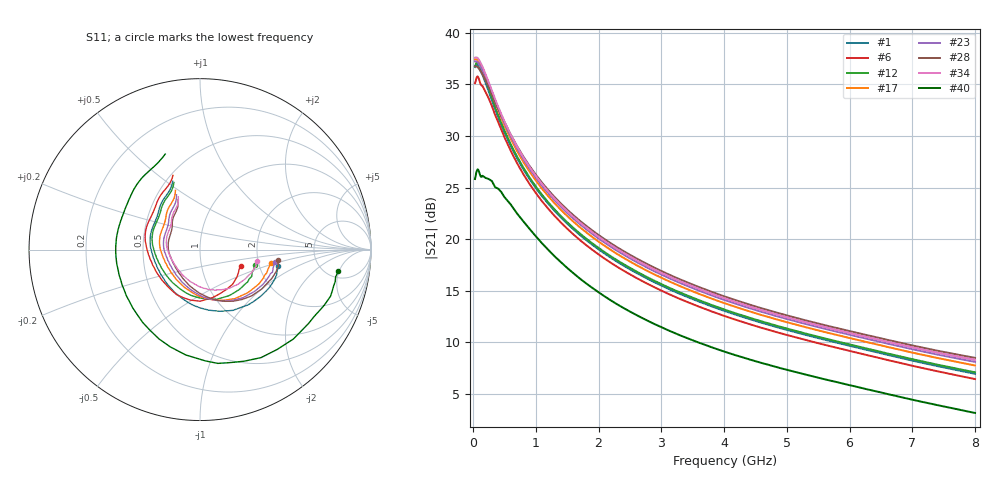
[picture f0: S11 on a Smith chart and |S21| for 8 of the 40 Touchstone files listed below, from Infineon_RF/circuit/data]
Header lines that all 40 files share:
! Infineon Technologies  Discrete & RF Semiconductors
! BFP620F
! Common Emitter S-Parameters:  Dec 2014
# GHz  S  MA  R  50
!  f  S11  S21  S12  S22
! GHz  MAG  ANG  MAG  ANG  MAG  ANG  MAG  ANG
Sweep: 30 MHz to 8 GHz
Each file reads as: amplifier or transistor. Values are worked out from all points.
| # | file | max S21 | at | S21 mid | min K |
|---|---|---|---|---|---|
| 1 | BFP620F_VCE_1.3V_IC_55mA.s2p | 36.9 dB | 60 MHz | 14.7 dB at 3.3 GHz | 0.08 |
| 2 | BFP620F_VCE_1.3V_IC_60mA.s2p | 36.9 dB | 70 MHz | 14.6 dB at 3.3 GHz | 0.16 |
| 3 | BFP620F_VCE_1.3V_IC_65mA.s2p | 36.9 dB | 70 MHz | 14.6 dB at 3.3 GHz | 0.18 |
| 4 | BFP620F_VCE_1.3V_IC_70mA.s2p | 36.6 dB | 70 MHz | 14.5 dB at 3.3 GHz | 0.21 |
| 5 | BFP620F_VCE_1.3V_IC_75mA.s2p | 36.3 dB | 70 MHz | 14.4 dB at 3.3 GHz | 0.18 |
| 6 | BFP620F_VCE_1.3V_IC_80mA.s2p | 35.8 dB | 70 MHz | 14.2 dB at 3.3 GHz | 0.25 |
| 7 | BFP620F_VCE_1.5V_IC_53mA.s2p | 37.0 dB | 40 MHz | 15.1 dB at 3.3 GHz | 0.07 |
| 8 | BFP620F_VCE_1.5V_IC_55mA.s2p | 37.1 dB | 40 MHz | 15.1 dB at 3.3 GHz | 0.11 |
| 9 | BFP620F_VCE_1.5V_IC_60mA.s2p | 37.2 dB | 50 MHz | 15.0 dB at 3.3 GHz | 0.17 |
| 10 | BFP620F_VCE_1.5V_IC_65mA.s2p | 37.3 dB | 60 MHz | 15.0 dB at 3.3 GHz | 0.11 |
| 11 | BFP620F_VCE_1.5V_IC_70mA.s2p | 37.3 dB | 60 MHz | 14.9 dB at 3.3 GHz | 0.15 |
| 12 | BFP620F_VCE_1.5V_IC_75mA.s2p | 37.1 dB | 70 MHz | 14.8 dB at 3.3 GHz | 0.20 |
| 13 | BFP620F_VCE_1.5V_IC_80mA.s2p | 36.9 dB | 70 MHz | 14.7 dB at 3.3 GHz | 0.19 |
| 14 | BFP620F_VCE_1.8V_IC_53mA.s2p | 37.0 dB | 30 MHz | 15.5 dB at 3.3 GHz | 0.15 |
| 15 | BFP620F_VCE_1.8V_IC_55mA.s2p | 37.1 dB | 40 MHz | 15.5 dB at 3.3 GHz | 0.08 |
| 16 | BFP620F_VCE_1.8V_IC_60mA.s2p | 37.3 dB | 40 MHz | 15.5 dB at 3.3 GHz | 0.09 |
| 17 | BFP620F_VCE_1.8V_IC_65mA.s2p | 37.4 dB | 40 MHz | 15.5 dB at 3.3 GHz | 0.13 |
| 18 | BFP620F_VCE_1.8V_IC_70mA.s2p | 37.5 dB | 50 MHz | 15.4 dB at 3.3 GHz | 0.14 |
| 19 | BFP620F_VCE_1.8V_IC_75mA.s2p | 37.6 dB | 50 MHz | 15.3 dB at 3.3 GHz | 0.21 |
| 20 | BFP620F_VCE_1.8V_IC_80mA.s2p | 37.5 dB | 60 MHz | 15.3 dB at 3.3 GHz | 0.18 |
| 21 | BFP620F_VCE_2.0V_IC_53mA.s2p | 36.9 dB | 40 MHz | 15.8 dB at 3.3 GHz | 0.07 |
| 22 | BFP620F_VCE_2.0V_IC_55mA.s2p | 37.0 dB | 40 MHz | 15.8 dB at 3.3 GHz | -0.08 |
| 23 | BFP620F_VCE_2.0V_IC_60mA.s2p | 37.2 dB | 40 MHz | 15.8 dB at 3.3 GHz | 0.09 |
| 24 | BFP620F_VCE_2.0V_IC_65mA.s2p | 37.4 dB | 40 MHz | 15.7 dB at 3.3 GHz | 0.15 |
| 25 | BFP620F_VCE_2.0V_IC_70mA.s2p | 37.5 dB | 50 MHz | 15.7 dB at 3.3 GHz | 0.16 |
| 26 | BFP620F_VCE_2.0V_IC_75mA.s2p | 37.6 dB | 50 MHz | 15.6 dB at 3.3 GHz | 0.11 |
| 27 | BFP620F_VCE_2.0V_IC_80mA.s2p | 37.7 dB | 50 MHz | 15.6 dB at 3.3 GHz | 0.15 |
| 28 | BFP620F_VCE_2.3V_IC_53mA.s2p | 36.8 dB | 40 MHz | 16.1 dB at 3.3 GHz | 0.21 |
| 29 | BFP620F_VCE_2.3V_IC_55mA.s2p | 36.9 dB | 50 MHz | 16.1 dB at 3.3 GHz | 0.24 |
| 30 | BFP620F_VCE_2.3V_IC_60mA.s2p | 37.1 dB | 50 MHz | 16.1 dB at 3.3 GHz | 0.10 |
| 31 | BFP620F_VCE_2.3V_IC_65mA.s2p | 37.3 dB | 50 MHz | 16.1 dB at 3.3 GHz | 0.10 |
| 32 | BFP620F_VCE_2.3V_IC_70mA.s2p | 37.4 dB | 50 MHz | 16.0 dB at 3.3 GHz | 0.12 |
| 33 | BFP620F_VCE_2.3V_IC_75mA.s2p | 37.6 dB | 50 MHz | 16.0 dB at 3.3 GHz | 0.09 |
| 34 | BFP620F_VCE_2.3V_IC_80mA.s2p | 37.6 dB | 50 MHz | 15.9 dB at 3.3 GHz | 0.08 |
| 35 | BFP620F_w_noise_VCE_0.3V_IC_1.0mA.s2p | 11.0 dB | 30 MHz | 5.8 dB at 3.3 GHz | -0.02 |
| 36 | BFP620F_w_noise_VCE_0.3V_IC_3.0mA.s2p | 19.3 dB | 30 MHz | 9.5 dB at 3.3 GHz | -0.02 |
| 37 | BFP620F_w_noise_VCE_0.3V_IC_5.0mA.s2p | 23.2 dB | 80 MHz | 10.4 dB at 3.3 GHz | -0.08 |
| 38 | BFP620F_w_noise_VCE_0.3V_IC_7.0mA.s2p | 25.3 dB | 70 MHz | 10.7 dB at 3.3 GHz | -0.03 |
| 39 | BFP620F_w_noise_VCE_0.3V_IC_8.0mA.s2p | 26.1 dB | 70 MHz | 10.7 dB at 3.3 GHz | 0.01 |
| 40 | BFP620F_w_noise_VCE_0.3V_IC_10mA.s2p | 26.8 dB | 70 MHz | 10.7 dB at 3.3 GHz | 0.00 |

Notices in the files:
TP2/Simulaciones/Example_wrk/Infineon_RF/circuit/data/BFP620F_VCE_1.3V_IC_55mA.s2p:
(c) 2014  Infineon Technologies AG, Munich
